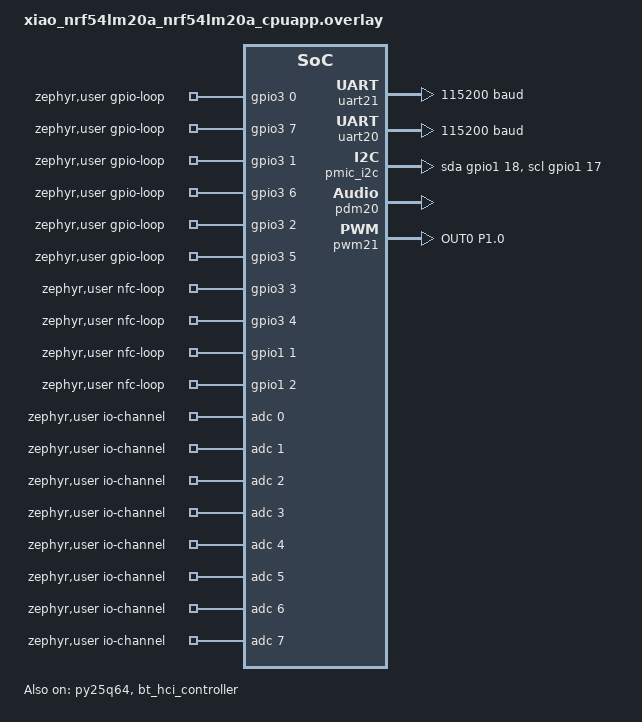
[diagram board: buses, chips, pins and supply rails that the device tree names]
&gpio3 {
	status = "okay";
};

&uart21 {
	current-speed = <115200>;
	status = "okay";
};

&uart20 {
	current-speed = <115200>;
	status = "okay";
};

&pmic_i2c {
	sda-gpios = <&gpio1 18 GPIO_ACTIVE_HIGH>;
	scl-gpios = <&gpio1 17 GPIO_ACTIVE_HIGH>;
	status = "okay";
};

&pmic {
	regulators {
		imu_vdd: dmic_vdd: LDO1 {
			regulator-min-microvolt = <3300000>;
			regulator-max-microvolt = <3300000>;
			regulator-boot-on;
		};
	};
};

/*
 * Override charger settings:
 * - Disable NTC thermistor monitoring (thermistor-ohms = 0) so the charger
 *   will not block charging when no physical NTC is present on the board.
 *   When thermistor_idx == 0 the Zephyr driver sets the DISABLENTC bit in
 *   BCHGDISABLESET (CHGR base 0x03, offset 0x06, bit 1).
 * - Raise charge current to 500 mA (factory test only; adjust per battery).
 * - Raise VBUS input limit to 1500 mA so the charger can draw enough current.
 */
&pmic_charger {
	thermistor-ohms = <0>;
	thermistor-beta = <3380>;
	current-microamp = <500000>;
	vbus-limit-microamp = <1500000>;
};

dmic_dev: &pdm20 {
	status = "okay";
};

&py25q64 {
	status = "okay";
};

&lsm6ds3tr_c {
	zephyr,deferred-init;
};

/ {
	aliases {
		regulator-parent = &{/pmic-i2c/npm1300@6b/regulators};
	};

	chosen {
		zephyr,bt-hci = &bt_hci_controller;
	};

	zephyr,user {
		io-channels = <&adc 0>, <&adc 1>, <&adc 2>, <&adc 3>,
			      <&adc 4>, <&adc 5>, <&adc 6>, <&adc 7>;
		/* GPIO loop pairs: D11->D18, D12->D17, D13->D16 */
		gpio-loop-gpios = <&gpio3 0 GPIO_ACTIVE_HIGH>, <&gpio3 7 GPIO_ACTIVE_HIGH>,
				  <&gpio3 1 GPIO_ACTIVE_HIGH>, <&gpio3 6 GPIO_ACTIVE_HIGH>,
				  <&gpio3 2 GPIO_ACTIVE_HIGH>, <&gpio3 5 GPIO_ACTIVE_HIGH>;
		/* NFC loop pairs: D14->NFC1, D15->NFC2 */
		nfc-loop-gpios = <&gpio3 3 GPIO_ACTIVE_HIGH>, <&gpio3 4 GPIO_ACTIVE_HIGH>,
				 <&gpio1 1 GPIO_ACTIVE_HIGH>, <&gpio1 2 GPIO_ACTIVE_HIGH>;
	};
};

/* Passive buzzer on D0 (gpio1 pin 0) via PWM21 channel 0 */
&pinctrl {
	pwm21_default: pwm21_default {
		group1 {
			psels = <NRF_PSEL(PWM_OUT0, 1, 0)>;
		};
	};
	pwm21_sleep: pwm21_sleep {
		group1 {
			psels = <NRF_PSEL(PWM_OUT0, 1, 0)>;
			low-power-enable;
		};
	};
};

&pwm21 {
	status = "okay";
	pinctrl-0 = <&pwm21_default>;
	pinctrl-1 = <&pwm21_sleep>;
	pinctrl-names = "default", "sleep";
};

&bt_hci_controller {
	status = "okay";
};

&bt_hci_sdc {
	status = "disabled";
};
